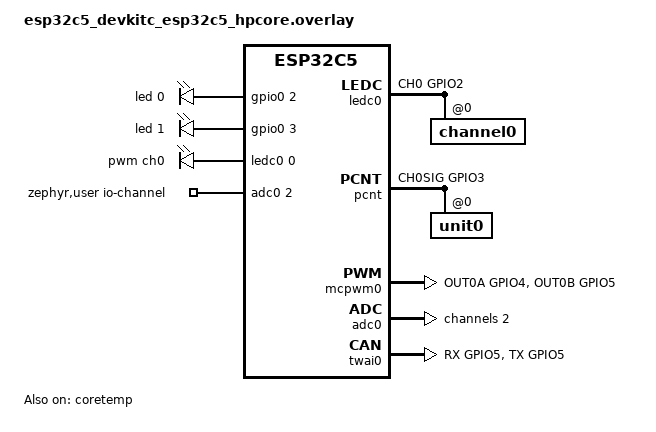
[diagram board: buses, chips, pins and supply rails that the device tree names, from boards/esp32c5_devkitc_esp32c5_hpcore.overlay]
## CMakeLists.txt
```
# SPDX-License-Identifier: Apache-2.0

cmake_minimum_required(VERSION 3.20.0)
find_package(Zephyr REQUIRED HINTS $ENV{ZEPHYR_BASE})
project(app_matrix)

target_sources(app PRIVATE src/main.c)
```

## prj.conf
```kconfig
CONFIG_APPLICATION_DEFINED_SYSCALL=y

CONFIG_APP_PLATFORM=y
CONFIG_APP_PLATFORM_MAX_APPS=4
CONFIG_APP_PLATFORM_SERVICES=y
CONFIG_APP_PLATFORM_GPIO=y
CONFIG_APP_PLATFORM_IO=y
CONFIG_APP_PLATFORM_PERIPH=y
CONFIG_APP_PLATFORM_MOTION=y
CONFIG_APP_PLATFORM_BUS=y
CONFIG_APP_PLATFORM_DMA=y
CONFIG_APP_PLATFORM_CAN=y
CONFIG_APP_PLATFORM_PSRAM=y

CONFIG_GPIO=y
CONFIG_PWM=y
CONFIG_ADC=y
CONFIG_SENSOR=y
CONFIG_I2C=y
CONFIG_SPI=y
CONFIG_SERIAL=y
CONFIG_DMA=y
CONFIG_CAN=y
CONFIG_FLASH=y
CONFIG_FLASH_MAP=y
CONFIG_FLASH_PAGE_LAYOUT=y
CONFIG_HWINFO=y
CONFIG_ESP_SPIRAM=y
CONFIG_ESP_SPIRAM_SIZE=8388608
CONFIG_SHARED_MULTI_HEAP=y

CONFIG_TASK_WDT=y
CONFIG_TASK_WDT_CHANNELS=8
CONFIG_TASK_WDT_HW_FALLBACK=n

CONFIG_PSA_CRYPTO=y
CONFIG_MBEDTLS_ENABLE_HEAP=y
CONFIG_PSA_WANT_ALG_SHA_256=y
CONFIG_ENTROPY_GENERATOR=y

CONFIG_LOG=y
CONFIG_LOG_MODE_MINIMAL=y
CONFIG_THREAD_NAME=y
CONFIG_EXCEPTION_DEBUG=n

CONFIG_MAIN_STACK_SIZE=4096
CONFIG_HEAP_MEM_POOL_SIZE=32768
```

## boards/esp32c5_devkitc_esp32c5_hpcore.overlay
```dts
/*
 * Copyright (c) 2026 Espressif Systems (Shanghai) Co., Ltd.
 *
 * SPDX-License-Identifier: Apache-2.0
 */

#include <zephyr/dt-bindings/pinctrl/esp32c5-pinctrl.h>
#include <zephyr/dt-bindings/pwm/pwm.h>

/ {
	leds {
		compatible = "gpio-leds";
		led_a: led_0 {
			gpios = <&gpio0 2 GPIO_ACTIVE_HIGH>;
			label = "led 0";
		};
		led_b: led_1 {
			gpios = <&gpio0 3 GPIO_ACTIVE_HIGH>;
			label = "led 1";
		};
	};
	app_pwm: app_pwm {
		compatible = "pwm-leds";
		app_pwm_ch0: app_pwm_ch0 {
			pwms = <&ledc0 0 PWM_HZ(1000) PWM_POLARITY_NORMAL>;
			label = "pwm ch0";
		};
	};
	zephyr,user {
		io-channels = <&adc0 2>;
	};
	aliases {
		led0 = &led_a;
		led1 = &led_b;
		app-pwm0 = &app_pwm_ch0;
		app-i2c = &i2c0;
		app-spi = &spi2;
		pcnt-stim = &app_pwm_ch0;
	};
	chosen {
		app-uart = &uart0;
	};
};

&pinctrl {
	ledc0_default: ledc0_default {
		group1 {
			pinmux = <LEDC_CH0_GPIO2>;
			output-enable;
		};
	};
	pcnt_default: pcnt_default {
		group1 {
			pinmux = <PCNT0_CH0SIG_GPIO3>;
			input-enable;
			bias-pull-down;
		};
	};
	mcpwm0_default: mcpwm0_default {
		group1 {
			pinmux = <MCPWM0_OUT0A_GPIO4>,
				 <MCPWM0_OUT0B_GPIO5>;
			output-enable;
		};
	};
	twai_default: twai_default {
		group1 {
			pinmux = <TWAI0_RX_GPIO5>;
			output-enable;
		};
		group2 {
			pinmux = <TWAI0_TX_GPIO5>;
			input-enable;
		};
	};
};

&ledc0 {
	pinctrl-0 = <&ledc0_default>;
	pinctrl-names = "default";
	status = "okay";
	#address-cells = <1>;
	#size-cells = <0>;
	channel0@0 {
		reg = <0x0>;
		timer = <0>;
	};
};

&pcnt {
	status = "okay";
	pinctrl-0 = <&pcnt_default>;
	pinctrl-names = "default";
	#address-cells = <1>;
	#size-cells = <0>;
	unit0@0 {
		reg = <0>;
		#address-cells = <1>;
		#size-cells = <0>;
		filter = <0>;
		channel0@0 {
			reg = <0>;
			sig-pos-mode = <1>;
			sig-neg-mode = <0>;
		};
	};
};

&mcpwm0 {
	pinctrl-0 = <&mcpwm0_default>;
	pinctrl-names = "default";
	prescale = <255>;
	prescale-timer0 = <103>;
	status = "okay";
};

&adc0 {
	#address-cells = <1>;
	#size-cells = <0>;
	status = "okay";
	channel@2 {
		reg = <2>;
		zephyr,gain = "ADC_GAIN_1_4";
		zephyr,reference = "ADC_REF_INTERNAL";
		zephyr,acquisition-time = <ADC_ACQ_TIME_DEFAULT>;
		zephyr,resolution = <12>;
	};
};

&twai0 {
	status = "okay";
	pinctrl-0 = <&twai_default>;
	pinctrl-names = "default";
	can-transceiver {
		max-bitrate = <1000000>;
	};
};

&dma {
	status = "okay";
};

&coretemp {
	status = "okay";
};
```

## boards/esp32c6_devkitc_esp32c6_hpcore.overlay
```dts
/*
 * Copyright (c) 2026 Espressif Systems (Shanghai) Co., Ltd.
 *
 * SPDX-License-Identifier: Apache-2.0
 */

#include <zephyr/dt-bindings/pinctrl/esp32c6-pinctrl.h>
#include <zephyr/dt-bindings/pwm/pwm.h>

/ {
	leds {
		compatible = "gpio-leds";

		led_a: led_0 {
			gpios = <&gpio0 2 GPIO_ACTIVE_HIGH>;
			label = "led 0";
		};

		led_b: led_1 {
			gpios = <&gpio0 3 GPIO_ACTIVE_HIGH>;
			label = "led 1";
		};
	};

	app_pwm: app_pwm {
		compatible = "pwm-leds";

		app_pwm_ch0: app_pwm_ch0 {
			pwms = <&ledc0 0 PWM_HZ(1000) PWM_POLARITY_NORMAL>;
			label = "pwm ch0";
		};
	};

	zephyr,user {
		io-channels = <&adc0 2>;
	};

	aliases {
		led0 = &led_a;
		led1 = &led_b;
		app-pwm0 = &app_pwm_ch0;
		app-i2c = &i2c0;
		app-spi = &spi2;
		pcnt-stim = &app_pwm_ch0;
	};

	chosen {
		app-uart = &uart0;
		zephyr,canbus = &twai0;
	};
};

&pinctrl {
	ledc0_default: ledc0_default {
		group1 {
			pinmux = <LEDC_CH0_GPIO2>;
			output-enable;
		};
	};

	pcnt_default: pcnt_default {
		group1 {
			pinmux = <PCNT0_CH0SIG_GPIO3>;
			input-enable;
			bias-pull-down;
		};
	};

	mcpwm0_default: mcpwm0_default {
		group1 {
			pinmux = <MCPWM0_OUT0A_GPIO4>,
				 <MCPWM0_OUT0B_GPIO5>;
			output-enable;
		};
	};

	twai_default: twai_default {
		group1 {
			pinmux = <TWAI0_RX_GPIO5>;
			output-enable;
		};

		group2 {
			pinmux = <TWAI0_TX_GPIO5>;
			input-enable;
		};
	};
};

&ledc0 {
	pinctrl-0 = <&ledc0_default>;
	pinctrl-names = "default";
	status = "okay";
	#address-cells = <1>;
	#size-cells = <0>;

	channel0@0 {
		reg = <0x0>;
		timer = <0>;
	};
};

&pcnt {
	status = "okay";
	pinctrl-0 = <&pcnt_default>;
	pinctrl-names = "default";
	#address-cells = <1>;
	#size-cells = <0>;

	unit0@0 {
		reg = <0>;
		#address-cells = <1>;
		#size-cells = <0>;
		filter = <0>;

		channelA@0 {
			reg = <0>;
			sig-pos-mode = <1>;
			sig-neg-mode = <0>;
		};
	};
};

&mcpwm0 {
	pinctrl-0 = <&mcpwm0_default>;
	pinctrl-names = "default";
	prescale = <255>;
	prescale-timer0 = <103>;
	status = "okay";
};

&adc0 {
	#address-cells = <1>;
	#size-cells = <0>;
	status = "okay";

	channel@2 {
		reg = <2>;
		zephyr,gain = "ADC_GAIN_1_4";
		zephyr,reference = "ADC_REF_INTERNAL";
		zephyr,acquisition-time = <ADC_ACQ_TIME_DEFAULT>;
		zephyr,resolution = <12>;
	};
};

&twai0 {
	status = "okay";
	pinctrl-0 = <&twai_default>;
	pinctrl-names = "default";

	can-transceiver {
		max-bitrate = <1000000>;
	};
};

&dma {
	status = "okay";
};

&coretemp {
	status = "okay";
};
```

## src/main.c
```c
/*
 * Copyright (c) 2026 Espressif Systems (Shanghai) Co., Ltd.
 *
 * SPDX-License-Identifier: Apache-2.0
 */

/* Capability matrix: for each cap bit, one app holding only that bit and one
 * holding everything but that bit call one representative gated service.
 * Expected: without the bit -EPERM; with the bit anything but -EPERM.
 */

#include <zephyr/app_platform/app_platform.h>
#include <zephyr/app_platform/app_services.h>
#include <zephyr/app_platform/app_caps.h>
#include <zephyr/app_memory/app_memdomain.h>
#include <zephyr/kernel.h>
#include <zephyr/sys/printk.h>
#include <errno.h>

K_APPMEM_PARTITION_DEFINE(res_part);
K_APP_DMEM(res_part) volatile int res_rc;
K_APP_DMEM(res_part) volatile int res_done;
K_APP_DMEM(res_part) volatile int res_bit;
K_APP_DMEM(res_part) uint8_t ubuf[64];
K_APP_DMEM(res_part) uint8_t ubuf2[64];

struct cap_case {
	const char *name;
	app_caps_t bit;
	const char *call;
	int (*fn)(void);
};

static int c_crypto(void)  { return app_svc_sha256(ubuf, 32, ubuf2); }
static int c_random(void)  { return app_svc_random(ubuf, 4); }
static int c_time(void)    { return app_svc_timer_start(1); }
static int c_sensor(void)  { return app_svc_die_temp_milli(); }
static int c_kv(void)      { uint32_t v; return app_svc_kv_get("k", &v); }
static int c_flash(void)   { return app_svc_flash_read(0, ubuf, 4); }
static int c_gpio(void)    { return app_svc_gpio_count(); }
static int c_pwm(void)     { return app_svc_pwm_find("x"); }
static int c_adc(void)     { return app_svc_adc_read(0); }
static int c_i2c(void)     { return app_svc_i2c_read(0x50, ubuf, 1); }
static int c_spi(void)     { return app_svc_spi_xfer(ubuf, ubuf2, 1); }
static int c_uart(void)    { return app_svc_uart_write(ubuf, 1); }
static int c_ipc(void)     { return app_svc_ipc_register("n"); }
/* An out-of-range id is rejected after the capability check, so the probe shows
 * the gate without ever stopping one of the other applications.
 */
static int c_control(void)  { return app_svc_app_stop(-1); }
static int c_restart(void)  { return app_svc_app_restart(-1); }

static int c_inspect(void) { return app_svc_app_count(); }
static int c_can(void)     { return app_svc_can_send(1, ubuf, 1); }
static int c_dma(void)     { return app_svc_dma_copy(ubuf, ubuf2, 16); }
static int c_psram(void)
{
	uintptr_t a;
	size_t s;
	int r = app_svc_psram_map(4096, &a, &s);

	if (r == 0) {
		app_svc_psram_unmap();
	}
	return r;
}
static int c_led(void)     { return app_svc_led_set(0, 0); }
static int c_input(void)   { return app_svc_button_wait(0); }
static int c_counter(void) { int32_t c; return app_svc_pulse_count(&c); }
static int c_motor(void)   { return app_svc_motor_set(0, 0); }
static int c_log(void)     { app_svc_log("matrix"); return 0; }
#ifdef CONFIG_APP_PLATFORM_NET
static int c_net(void)     { return app_svc_net_ready(); }
static int c_socket(void)  { return app_svc_resolve("localhost", (char *)ubuf, 16); }
#endif
#ifdef CONFIG_APP_PLATFORM_BLE
static int c_ble(void)     { return app_svc_ble_scan("x", 1); }
#endif
#ifdef CONFIG_APP_PLATFORM_RADIO
static int c_radio(void)   { return app_svc_radio_send(ubuf, 1); }
#endif

static const struct cap_case cases[] = {
	{"LOG", APP_CAP_LOG, "app_svc_log", c_log},
	{"CRYPTO", APP_CAP_CRYPTO, "app_svc_sha256", c_crypto},
	{"RANDOM", APP_CAP_RANDOM, "app_svc_random", c_random},
	{"TIME", APP_CAP_TIME, "app_svc_timer_start", c_time},
	{"SENSOR", APP_CAP_SENSOR, "app_svc_die_temp_milli", c_sensor},
	{"KV", APP_CAP_KV, "app_svc_kv_get", c_kv},
	{"FLASH", APP_CAP_FLASH, "app_svc_flash_read", c_flash},
	{"GPIO", APP_CAP_GPIO, "app_svc_gpio_count", c_gpio},
	{"PWM", APP_CAP_PWM, "app_svc_pwm_find", c_pwm},
	{"ADC", APP_CAP_ADC, "app_svc_adc_read", c_adc},
	{"I2C", APP_CAP_I2C, "app_svc_i2c_read", c_i2c},
	{"SPI", APP_CAP_SPI, "app_svc_spi_xfer", c_spi},
	{"UART", APP_CAP_UART, "app_svc_uart_write", c_uart},
#ifdef CONFIG_APP_PLATFORM_NET
	{"NET", APP_CAP_NET, "app_svc_net_ready", c_net},
	{"SOCKET", APP_CAP_SOCKET, "app_svc_resolve", c_socket},
#endif
#ifdef CONFIG_APP_PLATFORM_BLE
	{"BLE", APP_CAP_BLE, "app_svc_ble_scan", c_ble},
#endif
#ifdef CONFIG_APP_PLATFORM_RADIO
	{"RADIO", APP_CAP_RADIO, "app_svc_radio_send", c_radio},
#endif
	{"IPC", APP_CAP_IPC, "app_svc_ipc_register", c_ipc},
	{"INSPECT", APP_CAP_INSPECT, "app_svc_app_count", c_inspect},
	{"CONTROL", APP_CAP_CONTROL, "app_svc_app_stop", c_control},
	{"CONTROL", APP_CAP_CONTROL, "app_svc_app_restart", c_restart},
	{"CAN", APP_CAP_CAN, "app_svc_can_send", c_can},
	{"DMA", APP_CAP_DMA, "app_svc_dma_copy", c_dma},
	{"PSRAM", APP_CAP_PSRAM, "app_svc_psram_map", c_psram},
	{"LED", APP_CAP_LED, "app_svc_led_set", c_led},
	{"INPUT", APP_CAP_INPUT, "app_svc_button_wait(0)", c_input},
	{"COUNTER", APP_CAP_COUNTER, "app_svc_pulse_count", c_counter},
	{"MOTOR", APP_CAP_MOTOR, "app_svc_motor_set", c_motor},
};

static void probe_app(void *arg)
{
	ARG_UNUSED(arg);
	res_rc = cases[res_bit].fn();
	res_done = 1;
}

static bool wait_free(int id)
{
	for (int i = 0; i < 400; i++) {
		struct app_platform_status st;

		if (app_platform_status(id, &st) == -EAGAIN) {
			return true;
		}
		k_msleep(5);
	}
	return false;
}

static int run_case(int idx, app_caps_t caps)
{
	const struct app_def def = {
		.name = "probe", .source = APP_BUILTIN, .entry = probe_app, .caps = caps,
		.stopped = true,
	};

	res_rc = -9999;
	res_done = 0;
	res_bit = idx;
	int id = app_platform_launch(&def);

	if (id < 0) {
		return -9998;
	}
	k_mem_domain_add_partition(app_platform_domain(id), &res_part);
	(void)app_platform_start(id);
	if (!wait_free(id)) {
		return -9997;
	}
	return res_done ? res_rc : -9996;
}

int main(void)
{
	int bad = 0;

	printk("\n*** app_matrix: %u capability bits x 2 (C5) ***\n",
	       (unsigned int)ARRAY_SIZE(cases));
	if (app_platform_init() != 0) {
		return 0;
	}
	app_platform_log_enable(false);
	printk("%-8s %-22s %10s %10s  %s\n", "cap", "call", "denied", "granted", "verdict");
	for (size_t i = 0; i < ARRAY_SIZE(cases); i++) {
		int denied = run_case(i, APP_CAP_ALL & ~cases[i].bit);
		int granted = run_case(i, cases[i].bit);
		const char *v;

		if (cases[i].bit == APP_CAP_LOG) {
			v = "gated, but app_svc_log is void so the denial is not observable";
		} else if (denied == -EPERM && granted == -EACCES) {
			v = "ok (granted lacks the per-resource grant)";
		} else if (denied == -EPERM && granted != -EPERM) {
			v = "ok";
		} else if (denied == -9997) {
			v = "denied probe trapped";
		} else {
			v = "MISMATCH";
			bad++;
		}
		printk("%-8s %-22s %10d %10d  %s\n", cases[i].name, cases[i].call, denied,
		       granted, v);
	}
	printk("*** app_matrix done: %d mismatches; caps not compiled: "
	       "NET SOCKET BLE RADIO ***\n", bad);
	return 0;
}
```
